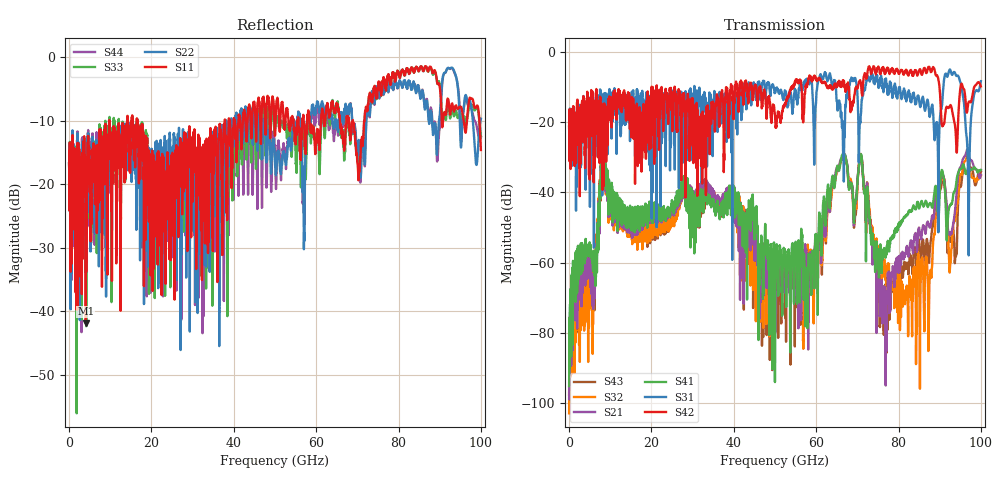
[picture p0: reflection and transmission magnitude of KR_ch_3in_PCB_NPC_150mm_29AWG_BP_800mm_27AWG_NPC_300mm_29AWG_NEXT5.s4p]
# GHz S RI R 45
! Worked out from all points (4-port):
!   4000 points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, 25 MHz to 100 GHz, reference 45 ohm
!   strongest paths, dB at 25 MHz, 25.02 GHz, 50.02 GHz, 75.03 GHz, 100 GHz:
!     S42: -21.3, -17.5, -18.0, -4.3, -9.8
!     S31: -21.3, -12.1, -11.4, -8.0, -8.3
!     S41: -95.3, -43.6, -84.8, -61.6, -33.6
!     S21: -99.0, -44.8, -64.1, -61.7, -35.0
!     S32: -103.0, -47.1, -68.8, -60.0, -35.3
!     S43: -97.7, -47.3, -67.9, -61.4, -34.1
!   lowest |S11| = -41.8 dB at 4.075 GHz (marker M1), VSWR 1.02, Z = 44.6 - j0.582 ohm
!   |S11| at or under -10 dB: start of sweep to 9.799 GHz; 9.805 GHz to 14.12 GHz (4.314 GHz wide, 36.1 % of centre); 16.58 GHz to 37.83 GHz (21.26 GHz wide, 78.1 % of centre) (the widest 3 of 43)
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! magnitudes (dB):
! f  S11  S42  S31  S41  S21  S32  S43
! 25 MHz  -16.7  -21.3  -21.3  -95.3  -99.0  -103.0  -97.7
! 4.075 GHz  -41.8  -23.1  -34.9  -55.3  -61.9  -67.1  -60.3
! 8.25 GHz  -17.0  -18.7  -17.5  -28.1  -28.8  -28.8  -28.1
! 48.33 GHz  -6.5  -12.9  -8.5  -55.0  -63.2  -65.0  -69.6
! 70.78 GHz  -15.5  -8.4  -19.1  -29.2  -29.9  -29.7  -29.0
! 76.6 GHz  -3.4  -5.9  -9.8  -58.2  -70.9  -61.2  -69.0
! 100 GHz  -14.6  -9.8  -8.3  -33.6  -35.0  -35.3  -34.1
